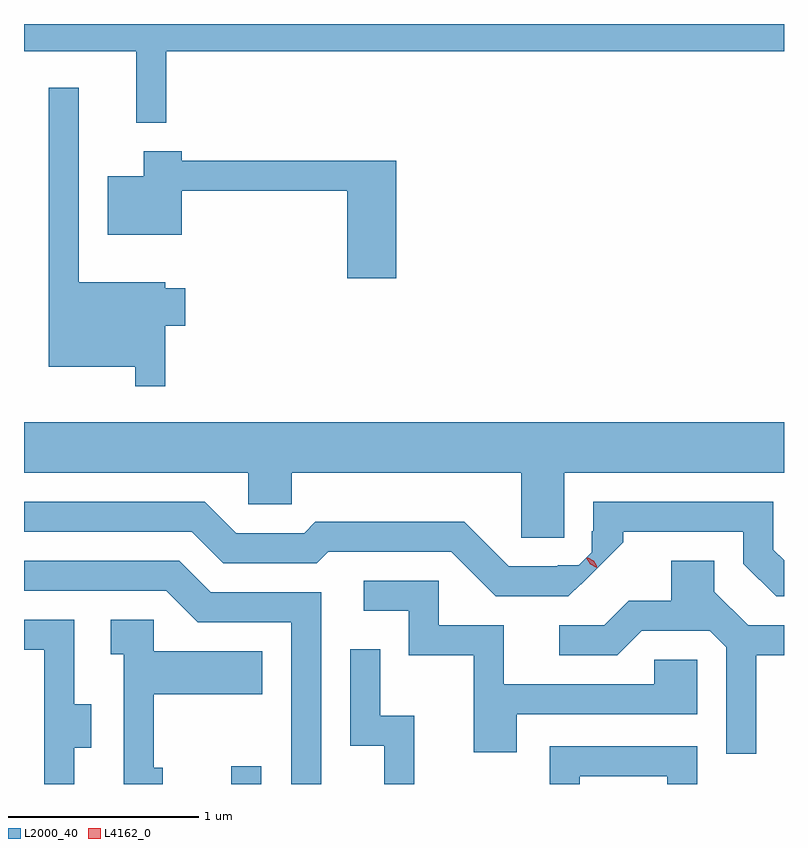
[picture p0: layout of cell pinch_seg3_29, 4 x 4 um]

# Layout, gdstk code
import gdstk
lib = gdstk.Library(unit=1e-6, precision=1e-09)
def R(c, l, rs):  # rectangles x0, y0, x1, y1
    for r in rs: c.add(gdstk.rectangle(r[:2], r[2:], *l))
def P(c, l, *ps):  # polygons
    for p in ps: c.add(gdstk.Polygon(p, *l))
L2000_40 = (2000, 40)
L4162_0 = (4162, 0)

pinch_seg3_29 = lib.new_cell('pinch_seg3_29')
R(pinch_seg3_29, L2000_40, [(1860.046,1219.839,1860.204,1219.933)])
P(pinch_seg3_29, L2000_40, [(1862.955,1223.839),(1858.955,1223.839),(1858.955,1223.696),(1859.546,1223.696),(1859.546,1223.318),(1859.704,1223.318),(1859.704,1223.696),(1862.955,1223.696)],
  [(1859.699,1222.251),(1859.804,1222.251),(1859.804,1222.449),(1859.699,1222.449),(1859.699,1222.479),(1859.244,1222.479),(1859.244,1223.503),(1859.086,1223.503),(1859.086,1222.036),(1859.541,1222.036),(1859.541,1221.933),(1859.699,1221.933)],
  [(1860.914,1223.119),(1859.784,1223.119),(1859.784,1223.169),(1859.586,1223.169),(1859.586,1223.039),(1859.396,1223.039),(1859.396,1222.731),(1859.784,1222.731),(1859.784,1222.961),(1860.656,1222.961),(1860.656,1222.501),(1860.914,1222.501)],
  [(1861.799,1221.476),(1862.955,1221.476),(1862.955,1221.744),(1858.955,1221.744),(1858.955,1221.476),(1860.136,1221.476),(1860.136,1221.311),(1860.364,1221.311),(1860.364,1221.476),(1861.571,1221.476),(1861.571,1221.136),(1861.799,1221.136)],
  [(1861.887,1220.894),(1861.889,1220.891),(1862.109,1221.111),(1862.109,1221.166),(1862.741,1221.166),(1862.741,1220.999),(1862.914,1220.826),(1862.955,1220.826),(1862.955,1221.016),(1862.899,1221.072),(1862.899,1221.324),(1861.951,1221.324),(1861.951,1221.17),(1861.944,1221.17),(1861.944,1221.059),(1861.876,1220.991),(1861.765,1220.991),(1861.765,1220.984),(1861.507,1220.984),(1861.272,1221.219),(1860.489,1221.219),(1860.429,1221.159),(1860.072,1221.159),(1859.907,1221.324),(1858.955,1221.324),(1858.955,1221.166),(1859.839,1221.166),(1860.004,1221.001),(1860.497,1221.001),(1860.557,1221.061),(1861.204,1221.061),(1861.439,1220.826),(1861.819,1220.826)],
  [(1860.519,1220.849),(1859.937,1220.849),(1859.772,1221.014),(1858.955,1221.014),(1858.955,1220.856),(1859.704,1220.856),(1859.869,1220.691),(1860.361,1220.691),(1860.361,1219.839),(1860.519,1219.839)],
  [(1862.809,1220.516),(1862.955,1220.516),(1862.955,1220.674),(1862.767,1220.674),(1862.589,1220.852),(1862.589,1221.014),(1862.361,1221.014),(1862.361,1220.804),(1862.139,1220.804),(1862.009,1220.674),(1861.773,1220.674),(1861.773,1220.516),(1862.077,1220.516),(1862.207,1220.646),(1862.564,1220.646),(1862.651,1220.559),(1862.651,1219.998),(1862.809,1219.998)],
  [(1861.549,1220.206),(1862.499,1220.206),(1862.499,1220.494),(1862.271,1220.494),(1862.271,1220.364),(1861.479,1220.364),(1861.479,1220.674),(1861.139,1220.674),(1861.139,1220.909),(1860.743,1220.909),(1860.743,1220.751),(1860.981,1220.751),(1860.981,1220.516),(1861.321,1220.516),(1861.321,1220.006),(1861.549,1220.006)],
  [(1859.684,1219.924),(1859.639,1219.924),(1859.639,1220.311),(1860.209,1220.311),(1860.209,1220.539),(1859.639,1220.539),(1859.639,1220.704),(1859.411,1220.704),(1859.411,1220.521),(1859.481,1220.521),(1859.481,1219.839),(1859.684,1219.839)],
  [(1859.219,1220.031),(1859.309,1220.031),(1859.309,1220.259),(1859.219,1220.259),(1859.219,1220.704),(1858.955,1220.704),(1858.955,1220.546),(1859.061,1220.546),(1859.061,1219.839),(1859.219,1219.839)],
  [(1861.009,1220.199),(1860.829,1220.199),(1860.829,1220.548),(1860.671,1220.548),(1860.671,1220.041),(1860.851,1220.041),(1860.851,1219.839),(1861.009,1219.839)],
  [(1861.879,1219.881),(1862.341,1219.881),(1862.341,1219.839),(1862.499,1219.839),(1862.499,1220.039),(1861.721,1220.039),(1861.721,1219.839),(1861.879,1219.839)])
P(pinch_seg3_29, L4162_0, [(1861.97,1220.976),(1861.936,1220.996),(1861.914,1221.03),(1861.914,1221.03),(1861.915,1221.03),(1861.95,1221.01),(1861.971,1220.977),(1861.971,1220.976)],
  [(1861.969,1220.986),(1861.94,1221),(1861.923,1221.028),(1861.923,1221.029),(1861.924,1221.029),(1861.953,1221.015),(1861.97,1220.987),(1861.97,1220.986)])

lib.write_gds('pinch_seg3_29.gds')
